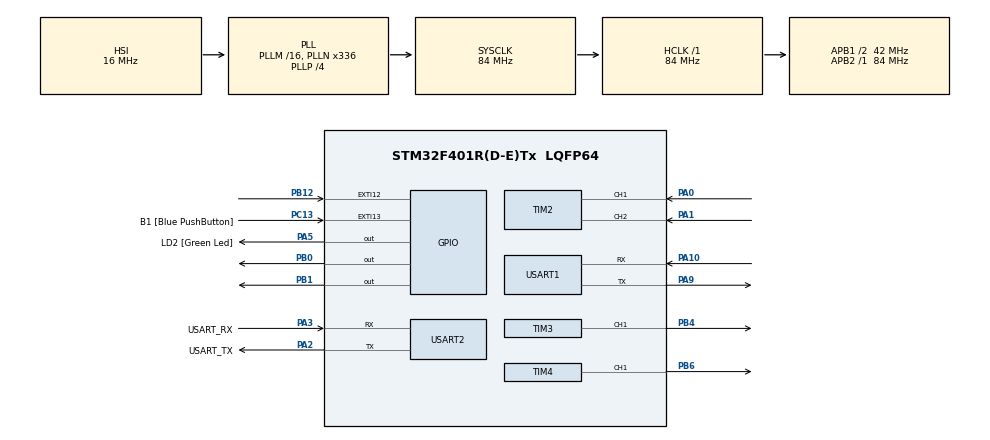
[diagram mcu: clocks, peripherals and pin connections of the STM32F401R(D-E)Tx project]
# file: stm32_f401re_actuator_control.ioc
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Mcu.Family=STM32F4
Mcu.Name=STM32F401R(D-E)Tx
Mcu.Package=LQFP64
NVIC.EXTI15_10_IRQn=true\:0\:0\:false\:false\:true\:true\:true\:true
NVIC.PriorityGroup=NVIC_PRIORITYGROUP_4
NVIC.USART1_IRQn=true\:1\:0\:true\:false\:true\:true\:true\:true
PA0-WKUP.Signal=S_TIM2_CH1_ETR
PA1.Signal=S_TIM2_CH2
PA10.Mode=Asynchronous
PA10.Signal=USART1_RX
PA13.GPIO_Label=TMS
PA13.Mode=Trace_Asynchronous_SW
PA13.Signal=SYS_JTMS-SWDIO
PA14.GPIO_Label=TCK
PA14.Mode=Trace_Asynchronous_SW
PA14.Signal=SYS_JTCK-SWCLK
PA2.GPIO_Label=USART_TX
PA2.GPIO_Mode=GPIO_MODE_AF_PP
PA2.GPIO_PuPd=GPIO_NOPULL
PA2.GPIO_Speed=GPIO_SPEED_FREQ_LOW
PA2.Mode=Asynchronous
PA2.Signal=USART2_TX
PA3.GPIO_Label=USART_RX
PA3.GPIO_Mode=GPIO_MODE_AF_PP
PA3.GPIO_PuPd=GPIO_NOPULL
PA3.GPIO_Speed=GPIO_SPEED_FREQ_LOW
PA3.Mode=Asynchronous
PA3.Signal=USART2_RX
PA5.GPIO_Label=LD2 [Green Led]
PA5.GPIO_Mode=GPIO_MODE_OUTPUT_PP
PA5.GPIO_PuPd=GPIO_NOPULL
PA5.GPIO_Speed=GPIO_SPEED_FREQ_LOW
PA5.Signal=GPIO_Output
PA9.Mode=Asynchronous
PA9.Signal=USART1_TX
PB0.Signal=GPIO_Output
PB1.Signal=GPIO_Output
PB12.GPIO_ModeDefaultEXTI=GPIO_MODE_IT_FALLING
PB12.GPIO_PuPd=GPIO_PULLUP
PB12.Signal=GPXTI12
PB3.GPIO_Label=SWO
PB3.Mode=Trace_Asynchronous_SW
PB3.Signal=SYS_JTDO-SWO
PB4.Signal=S_TIM3_CH1
PB6.Signal=S_TIM4_CH1
PC13-ANTI_TAMP.GPIO_Label=B1 [Blue PushButton]
PC13-ANTI_TAMP.GPIO_ModeDefaultEXTI=GPIO_MODE_IT_FALLING
PC13-ANTI_TAMP.GPIO_PuPd=GPIO_NOPULL
PC13-ANTI_TAMP.Signal=GPXTI13
PC14-OSC32_IN.Mode=LSE-External-Oscillator
PC14-OSC32_IN.Signal=RCC_OSC32_IN
PC15-OSC32_OUT.Mode=LSE-External-Oscillator
PC15-OSC32_OUT.Signal=RCC_OSC32_OUT
PH0\ -\ OSC_IN.Mode=HSE-External-Clock-Source
PH0\ -\ OSC_IN.Signal=RCC_OSC_IN
PH1\ -\ OSC_OUT.Mode=HSE-External-Clock-Source
PH1\ -\ OSC_OUT.Signal=RCC_OSC_OUT
ProjectManager.HeapSize=0x200
ProjectManager.StackSize=0x400
ProjectManager.TargetToolchain=STM32CubeIDE
RCC.48MHZClocksFreq_Value=48000000
RCC.AHBFreq_Value=84000000
RCC.APB1CLKDivider=RCC_HCLK_DIV2
RCC.APB1Freq_Value=42000000
RCC.APB1TimFreq_Value=84000000
RCC.APB2Freq_Value=84000000
RCC.APB2TimFreq_Value=84000000
RCC.CortexFreq_Value=84000000
RCC.HCLKFreq_Value=84000000
RCC.HSE_VALUE=8000000
RCC.HSI_VALUE=16000000
RCC.PLLN=336
RCC.PLLP=RCC_PLLP_DIV4
RCC.PLLQ=7
RCC.SYSCLKFreq_VALUE=84000000
RCC.SYSCLKSource=RCC_SYSCLKSOURCE_PLLCLK
RCC.VCOOutputFreq_Value=336000000
SH.S_TIM2_CH1_ETR.0=TIM2_CH1,Encoder_Interface
SH.S_TIM2_CH2.0=TIM2_CH2,Encoder_Interface
SH.S_TIM3_CH1.0=TIM3_CH1,PWM Generation1 CH1
SH.S_TIM4_CH1.0=TIM4_CH1,PWM Generation1 CH1
TIM2.EncoderMode=TIM_ENCODERMODE_TI12
TIM2.IC1Filter=8
TIM2.IC2Filter=8
TIM3.Channel-PWM\ Generation1\ CH1=TIM_CHANNEL_1
TIM3.Period=100-1
TIM3.Prescaler=84-1
TIM4.AutoReloadPreload=TIM_AUTORELOAD_PRELOAD_ENABLE
TIM4.Channel-PWM\ Generation1\ CH1=TIM_CHANNEL_1
TIM4.Period=20000-1
TIM4.Prescaler=84-1
TIM4.Pulse-PWM\ Generation1\ CH1=1500
USART1.VirtualMode=VM_ASYNC
USART2.VirtualMode=VM_ASYNC
VP_TIM3_VS_ClockSourceINT.Mode=Internal
VP_TIM4_VS_ClockSourceINT.Mode=Internal
board=NUCLEO-F401RE

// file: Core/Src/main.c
/* USER CODE BEGIN Header */
/**
  ******************************************************************************
  * @file           : main.c
  * @brief          : Main program body
  ******************************************************************************
  * @attention
  *
  * Copyright (c) 2026 STMicroelectronics.
  * All rights reserved.
  *
  * This software is licensed under terms that can be found in the LICENSE file
  * in the root directory of this software component.
  * If no LICENSE file comes with this software, it is provided AS-IS.
  *
  ******************************************************************************
  */
/* USER CODE END Header */
#include "main.h"
#include "tim.h"
#include "usart.h"
#include "gpio.h"

/* USER CODE BEGIN Includes */
#include <stdio.h>
#include <stdlib.h>
#include <string.h>
#include <math.h>
#include <stdbool.h>

/* USER CODE END Includes */

/* USER CODE BEGIN PV */

// RPM 기반 정지 유지 임계값 추가
#define RPM_STOP_HOLD_THRESHOLD   12.0f   // 이 RPM 이하면 '완전 정지'
#define RPM_RELEASE_THRESHOLD     20.0f   // 이 이상부터 다시 구동 허용
//static bool motor_hold_stop = true;

// ==== Motor start grace time ====
uint32_t motor_start_tick = 0;   // target_rpm > 0 이 된 최초 시각 (시동)

// === Servo Parameters(rad → PWM) ===
#define SERVO_HW_MIN		1000		// 좌측 물리 한계
#define SERVO_HW_MAX		2000		// 우측 물리 한계
#define SERVO_CENTER		1500		// 센터 값
#define SERVO_LEFT_US		1200		// 실사용 좌측 물리 값
#define SERVO_RIGHT_US		1800		// 실사용 우측 물리 값
#define SERVO_DEADBAND_US	3			// 서보모터 불감대 (3µ) => RPi에서 이미 5µ로 제한했기에 좀 더 관대하게 해도 됨

static uint16_t last_servo_pulse = SERVO_CENTER;

// ==== Vehicle Parameters(Speed → RPM) ====
#define WHEEL_RADIUS_M		0.03f		// 바퀴 반지름(m)
#define TWO_PI				6.2831853f	// 2π

// ===== RPM → PWM LUT =====
typedef struct {
	float rpm;
	uint16_t pwm;
} rpm_pwm_lut_t;

const rpm_pwm_lut_t rpm_pwm_lut[] = {
	    {  80.0f,  48 },
	    { 130.0f,  58 },
	    { 170.0f,  68 },
	    { 270.0f,  80 },
	    { 380.0f,  90 },
	    { 470.0f, 100 }
};

#define LUT_SIZE (sizeof(rpm_pwm_lut) / sizeof(rpm_pwm_lut[0]))

// ==== LUT Sweep Config ====
#define TEST_PWM_START 30
#define TEST_PWM_END   200		// 최대로 측정할 PWM 선정
#define TEST_PWM_STEP  10

#define STABLE_TIME_MS 2000		// 안정화 대기 시간 (2초)
#define SAMPLE_TIME_MS 3000		// 평균 계산 시간 (3초)

uint16_t test_pwm = TEST_PWM_START;
uint32_t sweep_tick = 0;
uint32_t sample_tick = 0;
uint32_t rpm_sum = 0;
uint32_t rpm_cnt = 0;
uint8_t sweep_state = 0;
// 0 : PWM 설정, 1 : 안정화 대기, 2 : RPM 평균 수집
// ===========================

// ==== UART RX ====
#define UART_RX_BUF_SIZE 64

uint8_t uart_rx_byte;				// 1byte 수신
char uart_rx_buf[UART_RX_BUF_SIZE];	// 문자열 버퍼
uint8_t uart_rx_idx = 0;			// 수신 인덱스
volatile uint8_t uart_rx_done = 0;	// 한 패킷 수신

// ==== Encoder CNT 누적 개수 ====
#define RPM_ACCUM_N  3			// CNT 누적 개수 (3 = 300ms)

// ===== Encoder spec =====
#define ENCODER_PPR   46        // pulses per revolution
#define SAMPLE_TIME  0.1f       // 100 ms
#define LPF_ALPHA	 0.3f		// RPM's Low Pass Filter 계수 (0~1)

// ==== Encoder safety ====
#define ENCODER_MIN_CNT 2
//#define STUCK_LIMIT		10		// 10 cycles = 1sec
#define STUCK_LIMIT		20		// 10 cycles = 1sec (시동 테스트)

// ==== PWM 최소 상수 정의 ====
#define PWM_MAX 	  99
#define PWM_MIN		  0
#define PWM_START_MIN 40			// 기동 최소 PWM (핵심)
#define PWM_STEP_MAX  10			// Soft-start 제한

#define PWM_START_MIN_FWD 40
#define PWM_START_MIN_REV 50

// =========STEP B : 후진 + 방향 전환 FSM ==================================
// ===== Direction FSM =====
typedef enum {
    DIR_FWD = 0,
    DIR_REV = 1
} dir_t;

// ====== 차의 행동 상태(FSM) =======
typedef enum {
    DRIVE_STOP = 0,
    DRIVE_RUN,
    DRIVE_RAMP_DOWN,
    DRIVE_DIR_SWITCH
} drive_state_t;

// 현재/목표 방향
static dir_t cur_dir = DIR_FWD;          // 현재 적용된 방향
static dir_t req_dir = DIR_FWD;          // 목표 방향

// 주행 FSM 상태
static drive_state_t drive_state = DRIVE_STOP;

#define DIR_SWITCH_HOLD_MS   200         // 방향 전환 시 모터 완전 정지 유지 시간(200ms 권장)
static uint32_t dir_switch_tick = 0;

// ===== Hysteresis thresholds (rpm) =====
#define RPM_OPEN_TO_CLOSED   80.0f
#define RPM_CLOSED_TO_OPEN   60.0f
#define RPM_OPENLOOP_MAX     70.0f        // 기존 값 유지해도 되고, 히스테리시스로 더 안정화됨

// ===== PWM Noise floor (무부하 삐삐 구간 차단용, 선택) =====
#define PWM_NOISE_MIN        45           // 무부하에서 삐삐 심하면 45~55로 조정

// =========STEP B=======================================================

// ==== STEP 2 : Control Params ====
//#define K_FF            	0.55f   // Feedforward gain (PWM per RPM) ← 1단계 로그 기반
#define K_P_INC         	0.15f   // 증분형 P gain (PWM per RPM)
#define RPM_DEADBAND    	3.0f    // ±3 RPM 이내면 PWM 보정 안 함
#define RPM_START_THRESHOLD 5.0f	// 모터가 정지 상태라고 판단하는 RPM 임계값

// ==== PI Controller ====
#define P_LIMIT  	15.0f		//헌팅 방지용 P 보정 상한 Limit
#define I_LIMIT		500.0f		// anti-windup Limit

// ==== PI 제어 함수 설계 변수 ====
float Kp         = 0.8f;	// 비례 이득(초기값)
float Ki         = 0.2f;	// 적분 이득(초기값) --> Ki = 0이면 P 제어
float error      = 0.0f;
float error_prev = 0.0f;	// 이전 샘플 오차로 D(미분 항)항 계산에 사용됨 --> 현재 PI제어이므로 필요X
float error_i 	 = 0.0f;    // 적분항

// ===== Encoder variables =====
int32_t cnt_now  = 0;		// 현재 증가량
int32_t cnt_prev = 0;		// 이전 증가량
int32_t delta_cnt = 0;		// 변화량

// ===== Speed =====
float rpm_raw  = 0.0f;			// Raw RPM 값
float rpm_filt = 0.0f;			// 필터 적용한 RPM

// ===== Target Data =====
volatile float target_speed_mps = 0.0f;	// UART로 받은 값
volatile float target_rpm = 0.0f;		// STM 내부 제어용
volatile float target_steer = 0.0f;		// UART로 받은 값(-1.0 ~ +1.0)

// ===== Fail-safe (Speed Command Watchdog) =====
//#define SPEED_CMD_TIMEOUT_MS 2000   		// 2000ms (튜닝 가능)
#define SPEED_CMD_TIMEOUT_MS 700   		    // 2000ms -> 700ms로 Watchdog 단축
volatile uint32_t last_speed_tick = 0;	    // 마지막 SPD 수신 시각

// ==== dCNT 추적 변수 ====
int32_t delta_buf[RPM_ACCUM_N] = {0};
uint8_t delta_idx = 0;
int32_t delta_sum = 0;

// ===== State (속도 제어 방식(Open/Closed)) =====
typedef enum {
    MOTOR_STOP = 0,
    MOTOR_OPENLOOP,
    MOTOR_CLOSEDLOOP
} motor_state_t;

motor_state_t motor_state = MOTOR_STOP;

// ==== PWM 변수 ====
uint16_t pwm_cmd  = 0;
uint16_t pwm_prev = 0;

// ==== Safety ====
uint16_t encoder_stuck_cnt = 0;	// 엔코더 안전 장치 변수

// ==== Time ====
uint32_t last_ctrl_tick = 0;			// DC 모터 제어 주기
volatile uint32_t last_steer_tick = 0;	// 서보 모터 제어 주기

// ==== UART buffer ====
char uart_buf[100];

// UART 기반 Servo Debug 변수
volatile float dbg_steer_cmd = 0.0f;
volatile uint16_t dbg_servo_pulse = SERVO_CENTER;

// UART 송신(TX) 주기 변수
static uint32_t last_stat_tx_tick = 0;
static uint32_t stat_tx_period_ms = 500;	// 500ms 마다 상태 송신

// STM 상태(NORMAL, EMERGENCY)와 이벤트(NONE, BUMP) 관리를 위한 변수
typedef enum {
	STM_STATE_NORMAL = 0,
	STM_STATE_EMERGENCY
} stm_state_t;

typedef enum {
	EVT_NONE = 0,
	EVT_BUMP
} stm_event_t;

volatile stm_state_t stm_state = STM_STATE_NORMAL;
volatile stm_event_t last_evt  = EVT_NONE;

static uint8_t bumper_prev = 1;		// Pull-up 기준 (미눌림 = 1, 눌림 = 0)
static uint32_t last_bump_tick = 0;	// 디바운스용
#define BUMP_DEBOUNCE_MS		50  // 50ms 디바운싱

/* USER CODE END PV */

void SystemClock_Config(void);
/* USER CODE BEGIN PFP */

// UART 상태 송신 로직 함수 선언부
void STM_StatusTx_Task(void);

/* USER CODE END PFP */

/* USER CODE BEGIN 0 */

// 범퍼 읽기 함수 (미눌림 = 1, 눌림 = 0)
static inline uint8_t Bumper_Read(void)
{
	return HAL_GPIO_ReadPin(GPIOB, GPIO_PIN_12);	// PB12
}

// Fail-Safe 처리 태스크
void Bumper_Failsafe_Task(void)
{
	uint8_t now = Bumper_Read();		// 스위치 값(안눌림=1, 눌림=0)
	uint32_t now_ms = HAL_GetTick();

	// 디바운싱
	if (now != bumper_prev) {
		if (now_ms - last_bump_tick < BUMP_DEBOUNCE_MS) {
			return;		// 채터링 무시
		}

		last_bump_tick = now_ms;

		// Falling edge : 1 -> 0 (눌림)
		if (bumper_prev == 1 && now == 0) {
			// 이벤트 송신
			const char* evt = "EVT:BUMP\n";
			HAL_UART_Transmit(&huart1, (uint8_t*)evt, strlen(evt), 50);			// 송신
			HAL_UART_Transmit(&huart2, (uint8_t*)"[DBG] EVT:BUMP\n", 15, 50);	// 디버거

			// 상태 래치
			stm_state = STM_STATE_EMERGENCY;
		}
		// Rising edge : 0 -> 1 (떼짐)
		else if (bumper_prev == 0 && now == 1) {
			const char* evt = "EVT:NONE\n";
			HAL_UART_Transmit(&huart1, (uint8_t*)evt, strlen(evt), 50);
			HAL_UART_Transmit(&huart2, (uint8_t*)"[DBG] EVT:NONE\n", 15, 50);
		}

		bumper_prev = now;
	}
}

// steer → PWM 변환 함수
void Servo_UpdateFromSteer(float steer)
{
	HAL_GPIO_TogglePin(GPIOC, GPIO_PIN_13); // LED 토글

	// 1. 입력 범위 제한
	if (steer >  1.0f) steer =  1.0f;
	if (steer < -1.0f) steer = -1.0f;

	// 2. steer → pulse (µs)
	float pulse_f;
	if (steer >= 0.0f) {
		pulse_f = SERVO_CENTER + steer * (SERVO_RIGHT_US - SERVO_CENTER);
	}
	else {
		pulse_f = SERVO_CENTER + steer * (SERVO_CENTER - SERVO_LEFT_US);
	}

	int32_t pulse = (int32_t)lroundf(pulse_f);

	// 3. HW 한계 보호
	if (pulse < SERVO_HW_MIN) pulse = SERVO_HW_MIN;
	if (pulse > SERVO_HW_MAX) pulse = SERVO_HW_MAX;

	// 4. Deadband(불감대) 처리
	if (abs(pulse - (int32_t)last_servo_pulse) >= SERVO_DEADBAND_US)
	{
		__HAL_TIM_SET_COMPARE(&htim4, TIM_CHANNEL_1, (uint16_t)pulse);
		last_servo_pulse = (uint16_t)pulse;
	}

	// 5. Debug용
	dbg_steer_cmd = steer;
	dbg_servo_pulse = last_servo_pulse;
}

// Speed → RPM 변환 함수
float SpeedToRPM(float speed_mps)
{
	// speed_ms : m/s (RPi에서 받은 목표 속도)
	if (speed_mps == 0.0f) return 0.0f;

	// 부호에 따른 전진/후진
    float sign = (speed_mps > 0.0f) ? 1.0f : -1.0f;
    float sp = fabsf(speed_mps);

    // 바퀴 회전수(RPM)
	// * 60.0f : (rev/s)*60 = rev/min (RPM) => 분당 RPM 측정을 위한 상수
	float wheel_rpm = (sp / (TWO_PI * WHEEL_RADIUS_M)) * 60.0f;

	return sign * wheel_rpm;
}

// STM 상태 UART 송신 로직
void STM_StatusTx_Task(void)
{
	if (HAL_GetTick() - last_stat_tx_tick < stat_tx_period_ms)
		return;

	last_stat_tx_tick = HAL_GetTick();

	// stm_state 값에 따라 EMERGENCY/NORMAL 분기
	const char* st = (stm_state == STM_STATE_EMERGENCY) ? "STAT:EMERGENCY\n"
														: "STAT:NORMAL\n";
	// RPi 송신 (huart1)
	HAL_UART_Transmit(&huart1, (uint8_t*)st, strlen(st), 50);

	// PC 디버그 로그 (huart2)
	int m = snprintf(uart_buf, sizeof(uart_buf), "[DBG] TX->RPi: %s", st);
	HAL_UART_Transmit(&huart2, (uint8_t*)uart_buf, m, 50);
}

void UART_Receive_Parser(void)
{
    if (!uart_rx_done) return;
    uart_rx_done = 0;

    /* ================= SPD ================= */
    if (strncmp(uart_rx_buf, "SPD:", 4) == 0)
    {
        char *endp;
        float speed_mps = strtof(&uart_rx_buf[4], &endp);

        /* 1) 파싱 실패 방어 */
        if (endp == &uart_rx_buf[4]) return; // 숫자 아니면 return

        /* 2) 속도 범위 제한 (후진 포함) */
        if (speed_mps >  10.0f) speed_mps =  10.0f;
        if (speed_mps < -10.0f) speed_mps = -10.0f;

        /* 3) Dead-zone 처리 (정지 안정화 핵심) */
        if (fabsf(speed_mps) < 0.02f) {   // 2cm/s 이하
            speed_mps = 0.0f;
            motor_start_tick = 0;		  // 시동 리셋
        }

        /* 4) 값 반영 */
        target_speed_mps = speed_mps;
        target_rpm = SpeedToRPM(speed_mps);   // 부호 포함 RPM

        /* 5) 0이 아닐때만 Watchdog 관리 */
        if (fabsf(speed_mps) > 0.02f) {
        	last_speed_tick = HAL_GetTick();
        }

        /* 6) 시동 타이밍 관리 */
        if (fabsf(speed_mps) > 0.02f && motor_start_tick == 0) {
        	motor_start_tick = HAL_GetTick();
        }
    }

    /* ================= STR ================= */
    else if (strncmp(uart_rx_buf, "STR:", 4) == 0)
    {
        char *endp;
        float steer = strtof(&uart_rx_buf[4], &endp);

        if (endp == &uart_rx_buf[4]) {
            return;
        }

        /* 범위 제한 */
        if (steer >  1.2f) steer =  1.2f;
        if (steer < -1.2f) steer = -1.2f;

        target_steer = steer;
        last_steer_tick = HAL_GetTick();
    }
}

// RPM 계산 함수
void Encoder_UpdateRPM(void)
{
    cnt_now = (int32_t)__HAL_TIM_GET_COUNTER(&htim2);	// 1. 현재 엔코더 카운트
    delta_cnt = cnt_now - cnt_prev;						// 2. 변화량 계산
    cnt_prev = cnt_now;									// 3. 이전 값 갱신

    // 4. 누적 버퍼 처리
    delta_sum -= delta_buf[delta_idx];
    delta_buf[delta_idx] = delta_cnt;
    delta_sum += delta_cnt;

    delta_idx = (delta_idx + 1) % RPM_ACCUM_N;

    // 5. 누적된 delta_cnt 기준으로 RPM 계산
    float total_time = SAMPLE_TIME * RPM_ACCUM_N;
    rpm_raw = ((float)delta_sum / ENCODER_PPR) * (60.0f / total_time);

    rpm_filt = LPF_ALPHA * rpm_raw + (1.0f - LPF_ALPHA) * rpm_filt;		// 5. Low Pass Filter 적용(현재 RC카의 RPM 값)
}

uint16_t LUT_Feedforward(float target_rpm)
{
    // ★ FIX 1: 저속 기동 구간 보강 (핵심)
    if (target_rpm > 0.0f && target_rpm < 60.0f)
    {
        //return PWM_START_MIN;   // ★ FIX: 저속은 무조건 기동 PWM 제공
        return PWM_START_MIN_FWD;
    }

    if (target_rpm <= 0.0f)
        return 0;

    if (target_rpm <= rpm_pwm_lut[0].rpm)
        return rpm_pwm_lut[0].pwm;

    if (target_rpm >= rpm_pwm_lut[LUT_SIZE - 1].rpm)
        return rpm_pwm_lut[LUT_SIZE - 1].pwm;

    for (int i = 0; i < LUT_SIZE - 1; i++)
    {
        float rpm1 = rpm_pwm_lut[i].rpm;
        float rpm2 = rpm_pwm_lut[i + 1].rpm;

        if (target_rpm >= rpm1 && target_rpm <= rpm2)
        {
            float pwm1 = rpm_pwm_lut[i].pwm;
            float pwm2 = rpm_pwm_lut[i + 1].pwm;

            float ratio = (target_rpm - rpm1) / (rpm2 - rpm1);
            return (uint16_t)(pwm1 + ratio * (pwm2 - pwm1));
        }
    }

    return rpm_pwm_lut[LUT_SIZE - 1].pwm;
}

float Incremental_P(float target, float current)
{
    float error = target - current;

    if (fabsf(error) <= RPM_DEADBAND)
        return 0.0f;

    float p = K_P_INC * error;

    if (p >  P_LIMIT) p =  P_LIMIT;
    if (p < -P_LIMIT) p = -P_LIMIT;

    return p;
}

// 방향 제어 함수
// 전진(IN1=1, IN2=0)
void Motor_Forward(void)
{
	  HAL_GPIO_WritePin(GPIOB, GPIO_PIN_0, GPIO_PIN_SET);	// IN1 : 1
	  HAL_GPIO_WritePin(GPIOB, GPIO_PIN_1, GPIO_PIN_RESET); // IN2 : 0
}

// 후진 함수 (IN1=0, IN2=1)
void Motor_Backward(void)
{
	  HAL_GPIO_WritePin(GPIOB, GPIO_PIN_0, GPIO_PIN_RESET); // IN1 : 0
	  HAL_GPIO_WritePin(GPIOB, GPIO_PIN_1, GPIO_PIN_SET);	// IN2 : 1
}

// 정지 함수
void Motor_Stop(void)
{
	// PWM Duty 값 0으로 설정 -> 모터에 인가되는 평균 전압 = 0 -> 소프트 정지(coast stop)
	// 즉, Breake 기능 X, 자연 감속 기능 O
	__HAL_TIM_SET_COMPARE(&htim3, TIM_CHANNEL_1, 0);
}

// PWM 제어(속도) : 0 ~ 999
void Motor_SetDuty(uint16_t duty)
{
	// 하드웨어 안전 장치 : PWM Duty 값을 0 ~ 999 범위로 제한
	  if (duty > PWM_MAX) duty = PWM_MAX;
	  __HAL_TIM_SET_COMPARE(&htim3, TIM_CHANNEL_1, duty);
}

// 서보모터 제어 테스트 함수
void Servo_SetPulse(uint16_t us)
{
	if (us < 1000) us = 1000;
	if (us > 2000) us = 2000;

	__HAL_TIM_SET_COMPARE(&htim4, TIM_CHANNEL_1, us);
}

/* USER CODE END 0 */

int main(void)
{

  /* MCU Configuration--------------------------------------------------------*/

  /* Reset of all peripherals, Initializes the Flash interface and the Systick. */
  HAL_Init();

  /* Configure the system clock */
  SystemClock_Config();

  /* Initialize all configured peripherals */
  MX_GPIO_Init();
  MX_USART2_UART_Init();
  MX_TIM3_Init();
  MX_TIM2_Init();
  MX_USART1_UART_Init();
  MX_TIM4_Init();
  /* USER CODE BEGIN 2 */

  // UART 수신 활성화
  HAL_UART_Receive_IT(&huart1, &uart_rx_byte, 1);

  // DC모터의 PWM TIM 활성화
  HAL_TIM_PWM_Start(&htim3, TIM_CHANNEL_1);

  // 서보모터의 PWM TIM 활성화
  HAL_TIM_PWM_Start(&htim4, TIM_CHANNEL_1);

  Servo_SetPulse(1500);	// 중립
  HAL_Delay(500);         // 서보 안정 시간

  // Encoder TIM 활성화
  HAL_TIM_Encoder_Start(&htim2, TIM_CHANNEL_ALL);

  Motor_Forward();
  /* USER CODE END 2 */

  /* Infinite loop */
  while (1)
  {

    /* USER CODE BEGIN 3 */
	  // Motor_SetDuty(300) : CCR = 300을 의미 -> PWM 듀티 30%
	  // PWM Duty Cycle : 전압 인가하는 시간 비율

	  // ==== [A] UART 수신 처리 (non-blocking) ====
	  UART_Receive_Parser();

	  // ==== [B] 최우선 Fail-Safe ====
	  Bumper_Failsafe_Task();
	  if (stm_state == STM_STATE_EMERGENCY) {
		  Motor_SetDuty(0);
		  // Servo_SetPulse(SERVO_CENTER); // 선택
		  STM_StatusTx_Task();
		  continue;			// RPi 명령 무시
	  }

	  /* ==== [C] Servo decision Layer ==== */
	  float steer_cmd = target_steer;

	  // [C-1] Servo scheduling : 언제 서보 PWM을 갱신할 것 인가?
	  static uint32_t last_servo_tick = 0;
	  if (HAL_GetTick() - last_servo_tick >= 20)	// 20ms(50Hz) 고정 제어 주기
	  {
		  last_servo_tick = HAL_GetTick();
		  Servo_UpdateFromSteer(steer_cmd);			// Servo 업데이트
	  }

	  // [B-3] Servo Debugging
	  static uint32_t last_servo_dbg_tick = 0;
	  if (HAL_GetTick() - last_servo_dbg_tick >= 100)
	  {
	      last_servo_dbg_tick = HAL_GetTick();
	  }
	  /* =================================== */

	  // [D] 100ms(20Hz) 고정 제어 주기
	  if (HAL_GetTick() - last_ctrl_tick >= 50)
	  {
		  last_ctrl_tick = HAL_GetTick();

		  // [D-1] Fail-safe
		  if (HAL_GetTick() - last_speed_tick > SPEED_CMD_TIMEOUT_MS) {
			  target_speed_mps = 0.0f;
			  target_rpm = 0.0f;
			  motor_start_tick = 0;		// 시동 상태 리셋

			  pwm_cmd = 0;
			  pwm_prev = 0;

			  Motor_SetDuty(0);
			  drive_state = DRIVE_STOP;
			  motor_state = MOTOR_STOP;

			  continue;
		  }

		  // [D-2] 목표 RPM 부호 분리
		  float cmd_rpm_signed = target_rpm;	// ±RPM
		  float cmd_rpm		   = fabsf(cmd_rpm_signed);
		  req_dir = (cmd_rpm_signed >= 0.0f) ? DIR_FWD : DIR_REV;

		  // [D-3] Drive FSM Transition
		  switch(drive_state)
		  {
		  	  case DRIVE_STOP:
		  		  if (cmd_rpm > 0.0f) {
		  	          cur_dir = req_dir;     // 바로 방향 반영
		  	          drive_state = DRIVE_RUN;
		  		  }
		  		  break;

		  	  case DRIVE_RUN:
		  		  if (cmd_rpm <= 0.0f) {
		  			  drive_state = DRIVE_STOP;
		  		  }
		  		  else if (req_dir != cur_dir) {
		  			  drive_state = DRIVE_RAMP_DOWN;
		  		  }
		  		  break;

		  	  case DRIVE_RAMP_DOWN:
		  		  if (pwm_prev == 0) {
		  			  drive_state = DRIVE_DIR_SWITCH;
		  			  dir_switch_tick = HAL_GetTick();
		  		  }
		  		  break;

		  	  case DRIVE_DIR_SWITCH:
		  		  if (HAL_GetTick() - dir_switch_tick >= DIR_SWITCH_HOLD_MS) {
		  			  cur_dir = req_dir;
		  			  drive_state = (cmd_rpm > 0.0f) ? DRIVE_RUN : DRIVE_STOP;
		  		  }
		  		  break;
		  }

		  // [D-4] Drive FSM Action
		  if (drive_state == DRIVE_STOP) {
			  Motor_SetDuty(0);
			  pwm_cmd = 0;
			  pwm_prev = 0;
			  motor_state = MOTOR_STOP;
		  }
		  else if (drive_state == DRIVE_RAMP_DOWN) {
			  int32_t p = (int32_t)pwm_prev - PWM_STEP_MAX;
			  if (p < 0) p = 0;
			  pwm_cmd = (uint16_t)p;
			  Motor_SetDuty(pwm_cmd);
			  pwm_prev = pwm_cmd;
			  motor_state = MOTOR_STOP;
		  }
		  else if (drive_state == DRIVE_DIR_SWITCH) {
			  Motor_SetDuty(0);
			  pwm_cmd = 0;
			  pwm_prev = 0;
			  motor_state = MOTOR_STOP;
		  }
		  else { // DRIVE_RUN

			  // 방향 적용
			  if (cur_dir == DIR_FWD) Motor_Forward();
			  else					  Motor_Backward();

			  // [D-5] motor_state 결정
			  static bool closed = false;
			  if (!closed) {
				  if (cmd_rpm >= RPM_OPEN_TO_CLOSED) closed = true;
			  } else {
				  if (cmd_rpm <= RPM_CLOSED_TO_OPEN) closed = false;
			  }

			  motor_state = closed ? MOTOR_CLOSEDLOOP
					  	  	  	   : MOTOR_OPENLOOP;

			  // [D-6] motor_state Action
			  if (motor_state == MOTOR_OPENLOOP) {

				  if (cur_dir == DIR_FWD) pwm_cmd = PWM_START_MIN_FWD;
				  else pwm_cmd = PWM_START_MIN_REV;

				  Motor_SetDuty(pwm_cmd);
				  pwm_prev = pwm_cmd;
			  }
			  else {	// MOTOR_CLOSEDLOOP
				  Encoder_UpdateRPM();

				  uint16_t pwm_ff = LUT_Feedforward(cmd_rpm);
				  float pwm_p = Incremental_P(cmd_rpm, rpm_filt);

				  int32_t pwm_calc = (int32_t)(pwm_ff + pwm_p);

				  if (pwm_calc > pwm_prev + PWM_STEP_MAX)
					  pwm_calc = pwm_prev + PWM_STEP_MAX;
				  else if (pwm_calc < pwm_prev - PWM_STEP_MAX)
					  pwm_calc = pwm_prev - PWM_STEP_MAX;

				  if (pwm_calc > PWM_MAX) pwm_calc = PWM_MAX;
				  if (pwm_calc < 0) pwm_calc = 0;

				  pwm_cmd = (uint16_t)pwm_calc;
				  Motor_SetDuty(pwm_cmd);
				  pwm_prev = pwm_cmd;
			  }
		  }

		  // [D-7] Debug
		  int len = snprintf(uart_buf, sizeof(uart_buf),
		      "[STM] drive=%d motor=%d dir=%d T_RPM=%.1f C_RPM=%.1f PWM=%d\r\n",
		      drive_state, motor_state, cur_dir,
		      target_rpm, rpm_filt, pwm_cmd);

		  HAL_UART_Transmit(&huart2, (uint8_t*)uart_buf, len, 100);
	  }

	  // STM 상태 UART 송신
	  STM_StatusTx_Task();

  }	// while문 끝

  /* USER CODE END 3 */
}

void SystemClock_Config(void)
{
  RCC_OscInitTypeDef RCC_OscInitStruct = {0};
  RCC_ClkInitTypeDef RCC_ClkInitStruct = {0};

  /** Configure the main internal regulator output voltage
  */
  __HAL_RCC_PWR_CLK_ENABLE();
  __HAL_PWR_VOLTAGESCALING_CONFIG(PWR_REGULATOR_VOLTAGE_SCALE2);

  /** Initializes the RCC Oscillators according to the specified parameters
  * in the RCC_OscInitTypeDef structure.
  */
  RCC_OscInitStruct.OscillatorType = RCC_OSCILLATORTYPE_HSI;
  RCC_OscInitStruct.HSIState = RCC_HSI_ON;
  RCC_OscInitStruct.HSICalibrationValue = RCC_HSICALIBRATION_DEFAULT;
  RCC_OscInitStruct.PLL.PLLState = RCC_PLL_ON;
  RCC_OscInitStruct.PLL.PLLSource = RCC_PLLSOURCE_HSI;
  RCC_OscInitStruct.PLL.PLLM = 16;
  RCC_OscInitStruct.PLL.PLLN = 336;
  RCC_OscInitStruct.PLL.PLLP = RCC_PLLP_DIV4;
  RCC_OscInitStruct.PLL.PLLQ = 7;
  if (HAL_RCC_OscConfig(&RCC_OscInitStruct) != HAL_OK)
  {
    Error_Handler();
  }

  /** Initializes the CPU, AHB and APB buses clocks
  */
  RCC_ClkInitStruct.ClockType = RCC_CLOCKTYPE_HCLK|RCC_CLOCKTYPE_SYSCLK
                              |RCC_CLOCKTYPE_PCLK1|RCC_CLOCKTYPE_PCLK2;
  RCC_ClkInitStruct.SYSCLKSource = RCC_SYSCLKSOURCE_PLLCLK;
  RCC_ClkInitStruct.AHBCLKDivider = RCC_SYSCLK_DIV1;
  RCC_ClkInitStruct.APB1CLKDivider = RCC_HCLK_DIV2;
  RCC_ClkInitStruct.APB2CLKDivider = RCC_HCLK_DIV1;

  if (HAL_RCC_ClockConfig(&RCC_ClkInitStruct, FLASH_LATENCY_2) != HAL_OK)
  {
    Error_Handler();
  }
}

/* USER CODE BEGIN 4 */

// ==== UART 수신 콜백 함수 ====
void HAL_UART_RxCpltCallback(UART_HandleTypeDef *huart)
{
	if (huart->Instance == USART1)
	{
		char c = (char)uart_rx_byte;

		if (uart_rx_byte == '\n')		// 패킷 종료
		{
			uart_rx_buf[uart_rx_idx] = '\0';
			uart_rx_idx = 0;
			uart_rx_done = 1;
		}
		else
		{
			if (uart_rx_idx < UART_RX_BUF_SIZE - 1)
			{
				uart_rx_buf[uart_rx_idx++] = c;
			} else {
				// overflow : 버퍼 리셋
				uart_rx_idx = 0;

			}

		}

		// target_rpm 갱신
		HAL_UART_Receive_IT(&huart1, &uart_rx_byte, 1);
	}
}

/* USER CODE END 4 */

void Error_Handler(void)
{
  __disable_irq();
  while (1)
  {
  }
}
